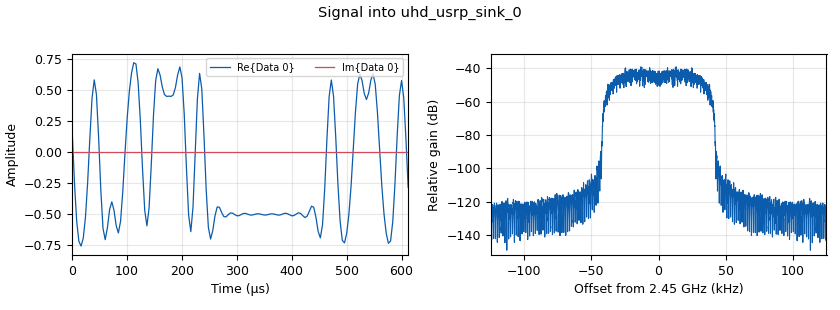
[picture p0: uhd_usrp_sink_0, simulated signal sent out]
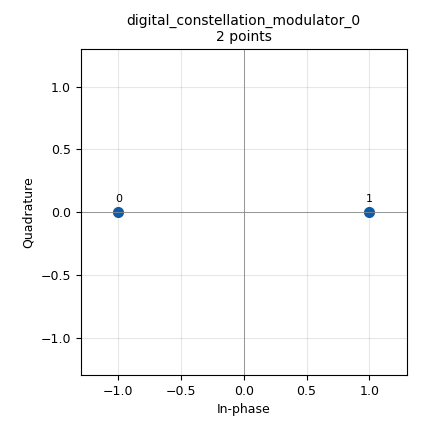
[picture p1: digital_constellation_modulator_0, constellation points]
<?xml version='1.0' encoding='utf-8'?>
<?grc format='1' created='3.7.11'?>
<flow_graph>
<block>
<key>options</key>
<param><key>id</key><value>top_block</value></param>
<param><key>generate_options</key><value>qt_gui</value></param>
</block>
<block>
<key>variable_constellation</key>
<param><key>id</key><value>bpsk</value></param>
<param><key>type</key><value>bpsk</value></param>
<param><key>precision</key><value>8</value></param>
</block>
<block>
<key>variable</key>
<param><key>id</key><value>samp_rate</value></param>
<param><key>value</key><value>250000</value></param>
</block>
<block>
<key>analog_random_source_x</key>
<param><key>id</key><value>analog_random_source_x_0</value></param>
<param><key>max</key><value>256</value></param>
<param><key>min</key><value>0</value></param>
<param><key>num_samps</key><value>10000</value></param>
<param><key>type</key><value>byte</value></param>
<param><key>repeat</key><value>True</value></param>
</block>
<block>
<key>blocks_multiply_const_vxx</key>
<param><key>id</key><value>blocks_multiply_const_vxx_0</value></param>
<param><key>const</key><value>0.5</value></param>
<param><key>type</key><value>complex</value></param>
</block>
<block>
<key>blocks_vector_source_x</key>
<param><key>id</key><value>blocks_vector_source_x_0</value></param>
<param><key>_enabled</key><value>0</value></param>
<param><key>type</key><value>byte</value></param>
<param><key>repeat</key><value>True</value></param>
<param><key>vector</key><value>(15, 255, 1)</value></param>
</block>
<block>
<key>digital_constellation_modulator</key>
<param><key>id</key><value>digital_constellation_modulator_0</value></param>
<param><key>constellation</key><value>bpsk</value></param>
<param><key>differential</key><value>False</value></param>
<param><key>excess_bw</key><value>0.35</value></param>
<param><key>samples_per_symbol</key><value>4</value></param>
</block>
<block>
<key>uhd_usrp_sink</key>
<param><key>id</key><value>uhd_usrp_sink_0</value></param>
<param><key>ant0</key><value>TX/RX</value></param>
<param><key>bw0</key><value>250e3</value></param>
<param><key>center_freq0</key><value>2.45e9</value></param>
<param><key>norm_gain0</key><value>False</value></param>
<param><key>gain0</key><value>30</value></param>
<param><key>clock_rate</key><value>0.0</value></param>
<param><key>dev_args</key><value>""</value></param>
<param><key>type</key><value>fc32</value></param>
<param><key>samp_rate</key><value>samp_rate</value></param>
<param><key>hide_cmd_port</key><value>False</value></param>
<param><key>hide_lo_controls</key><value>True</value></param>
<param><key>sync</key><value></value></param>
<param><key>len_tag_name</key><value></value></param>
</block>
<connection><source_block_id>analog_random_source_x_0</source_block_id><sink_block_id>digital_constellation_modulator_0</sink_block_id><source_key>0</source_key><sink_key>0</sink_key></connection>
<connection><source_block_id>blocks_multiply_const_vxx_0</source_block_id><sink_block_id>uhd_usrp_sink_0</sink_block_id><source_key>0</source_key><sink_key>0</sink_key></connection>
<connection><source_block_id>blocks_vector_source_x_0</source_block_id><sink_block_id>digital_constellation_modulator_0</sink_block_id><source_key>0</source_key><sink_key>0</sink_key></connection>
<connection><source_block_id>digital_constellation_modulator_0</source_block_id><sink_block_id>blocks_multiply_const_vxx_0</sink_block_id><source_key>0</source_key><sink_key>0</sink_key></connection>
</flow_graph>
